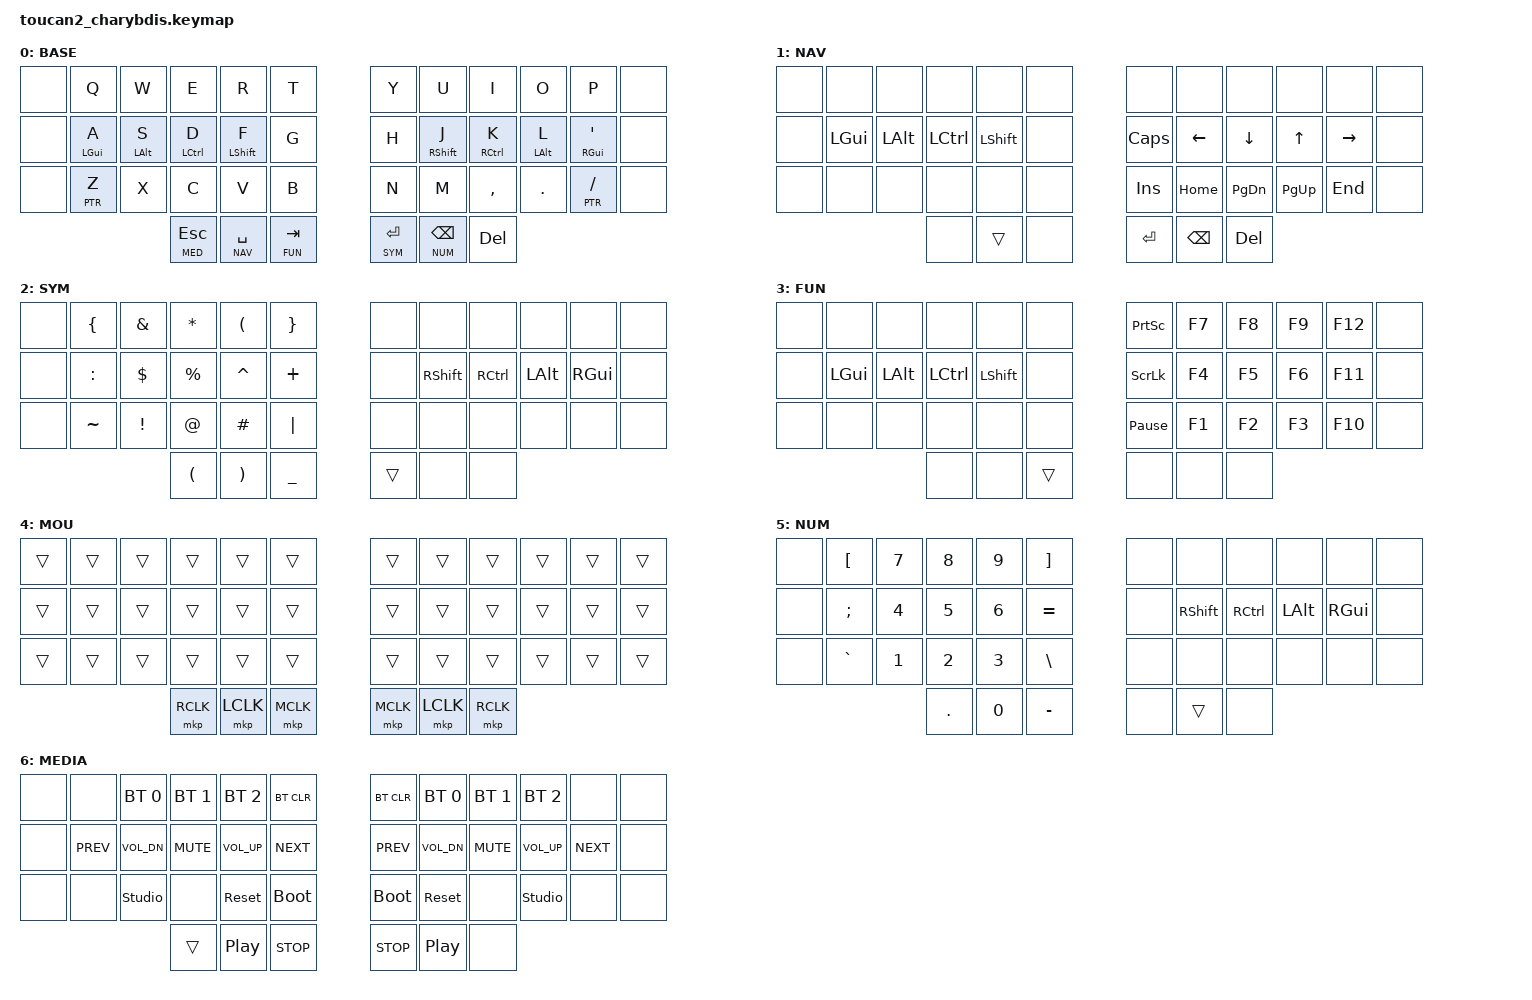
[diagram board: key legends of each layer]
/*
 * Toucan2 (36-key) keymap — port of the Charybdis Nano 3x5 stock layout
 * (bastardkb "via" keymap, Miryoku-inspired) to ZMK.
 *
 * Layer slots match the stock Toucan2 keymap (NAV=1, SYM=2, slot 4 = mouse layer
 * the trackpad switches on automatically), so the firmware's trackpad behavior
 * lines up with this file.
 *
 * Layout notes
 *  - The 6 outer-pinky positions of the 42-key matrix are &none (36-key build).
 *  - Thumbs (outer -> inner on the left, inner -> outer on the right):
 *      Left : Esc/MEDIA   Space/NAV   Tab/FUN
 *      Right: Enter/SYM   Bksp/NUM    Del   <- 6th thumb; the Charybdis Nano only has 5
 *  - Home-row mods, GACS order like the Charybdis:
 *      A=Cmd  S=Opt  D=Ctrl  F=Shift   |   J=Shift  K=Ctrl  L=Opt  '=Cmd
 *  - Pointer layer: comes on when the trackpad moves (like the Charybdis
 *    auto-pointer), or hold Z or /. Thumbs become mouse buttons; every other
 *    key passes through to the layer below.
 *  - Charybdis RGB keys -> Bluetooth profile keys (Toucan is wireless).
 *  - QK_BOOT -> &bootloader, EE_CLR -> &sys_reset (Media layer).
 *
 * Key positions (42-key transform):
 *    0  1  2  3  4  5 |  6  7  8  9 10 11
 *   12 13 14 15 16 17 | 18 19 20 21 22 23
 *   24 25 26 27 28 29 | 30 31 32 33 34 35
 *            36 37 38 | 39 40 41
 */

#include <behaviors.dtsi>
#include <dt-bindings/zmk/keys.h>
#include <dt-bindings/zmk/bt.h>
#include <dt-bindings/zmk/outputs.h>
#include <dt-bindings/zmk/pointing.h>

#define BASE 0
#define NAV  1
#define SYM  2
#define FUN  3
#define PTR  4
#define NUM  5
#define MED  6

#define KEYS_L 0 1 2 3 4 5 12 13 14 15 16 17 24 25 26 27 28 29
#define KEYS_R 6 7 8 9 10 11 18 19 20 21 22 23 30 31 32 33 34 35
#define THUMBS 36 37 38 39 40 41

/ {
    behaviors {
        // Positional home-row mods: a mod only triggers when the next key is on the
        // opposite hand (or a thumb), which avoids most misfires while rolling.
        hml: home_row_mod_left {
            compatible = "zmk,behavior-hold-tap";
            #binding-cells = <2>;
            flavor = "balanced";
            tapping-term-ms = <280>;
            quick-tap-ms = <175>;
            require-prior-idle-ms = <150>;
            bindings = <&kp>, <&kp>;
            hold-trigger-key-positions = <KEYS_R THUMBS>;
            hold-trigger-on-release;
        };

        hmr: home_row_mod_right {
            compatible = "zmk,behavior-hold-tap";
            #binding-cells = <2>;
            flavor = "balanced";
            tapping-term-ms = <280>;
            quick-tap-ms = <175>;
            require-prior-idle-ms = <150>;
            bindings = <&kp>, <&kp>;
            hold-trigger-key-positions = <KEYS_L THUMBS>;
            hold-trigger-on-release;
        };
    };

    keymap {
        compatible = "zmk,keymap";

        base {
            display-name = "BASE";
            bindings = <
&none  &kp Q          &kp W          &kp E           &kp R           &kp T     &kp Y  &kp U           &kp I           &kp O          &kp P            &none
&none  &hml LGUI A    &hml LALT S    &hml LCTRL D    &hml LSHFT F    &kp G     &kp H  &hmr RSHFT J    &hmr RCTRL K    &hmr LALT L    &hmr RGUI SQT    &none
&none  &lt PTR Z      &kp X          &kp C           &kp V           &kp B     &kp N  &kp M           &kp COMMA       &kp DOT        &lt PTR FSLH     &none
                      &lt MED ESC    &lt NAV SPACE   &lt FUN TAB               &lt SYM RET    &lt NUM BSPC    &kp DEL
            >;
        };

        nav {
            display-name = "NAV";
            bindings = <
&none  &none     &none     &none      &none      &none     &none    &none     &none     &none     &none      &none
&none  &kp LGUI  &kp LALT  &kp LCTRL  &kp LSHFT  &none     &kp CAPS &kp LEFT  &kp DOWN  &kp UP    &kp RIGHT  &none
&none  &none     &none     &none      &none      &none     &kp INS  &kp HOME  &kp PG_DN &kp PG_UP &kp END    &none
                           &none      &trans     &none     &kp RET  &kp BSPC  &kp DEL
            >;
        };

        sym {
            display-name = "SYM";
            bindings = <
&none  &kp LBRC   &kp AMPS  &kp STAR   &kp LPAR   &kp RBRC    &none  &none      &none      &none     &none     &none
&none  &kp COLON  &kp DLLR  &kp PRCNT  &kp CARET  &kp PLUS    &none  &kp RSHFT  &kp RCTRL  &kp LALT  &kp RGUI  &none
&none  &kp TILDE  &kp EXCL  &kp AT     &kp HASH   &kp PIPE    &none  &none      &none      &none     &none     &none
                            &kp LPAR   &kp RPAR   &kp UNDER   &trans &none      &none
            >;
        };

        fun {
            display-name = "FUN";
            bindings = <
&none  &none     &none     &none      &none      &none     &kp PSCRN        &kp F7  &kp F8  &kp F9  &kp F12  &none
&none  &kp LGUI  &kp LALT  &kp LCTRL  &kp LSHFT  &none     &kp SLCK         &kp F4  &kp F5  &kp F6  &kp F11  &none
&none  &none     &none     &none      &none      &none     &kp PAUSE_BREAK  &kp F1  &kp F2  &kp F3  &kp F10  &none
                           &none      &none      &trans    &none            &none   &none
            >;
        };

        mouse {
            display-name = "MOU";
            bindings = <
&trans &trans &trans    &trans    &trans    &trans      &trans    &trans    &trans    &trans &trans &trans
&trans &trans &trans    &trans    &trans    &trans      &trans    &trans    &trans    &trans &trans &trans
&trans &trans &trans    &trans    &trans    &trans      &trans    &trans    &trans    &trans &trans &trans
                        &mkp RCLK &mkp LCLK &mkp MCLK   &mkp MCLK &mkp LCLK &mkp RCLK
            >;
        };

        num {
            display-name = "NUM";
            bindings = <
&none  &kp LBKT   &kp N7  &kp N8   &kp N9     &kp RBKT    &none  &none      &none      &none     &none     &none
&none  &kp SEMI   &kp N4  &kp N5   &kp N6     &kp EQUAL   &none  &kp RSHFT  &kp RCTRL  &kp LALT  &kp RGUI  &none
&none  &kp GRAVE  &kp N1  &kp N2   &kp N3     &kp BSLH    &none  &none      &none      &none     &none     &none
                          &kp DOT  &kp N0     &kp MINUS   &none  &trans     &none
            >;
        };

        media {
            display-name = "MEDIA";
            bindings = <
&none  &none           &bt BT_SEL 0   &bt BT_SEL 1   &bt BT_SEL 2  &bt BT_CLR     &bt BT_CLR     &bt BT_SEL 0  &bt BT_SEL 1  &bt BT_SEL 2    &none           &none
&none  &kp C_PREV      &kp C_VOL_DN   &kp C_MUTE     &kp C_VOL_UP  &kp C_NEXT     &kp C_PREV     &kp C_VOL_DN  &kp C_MUTE    &kp C_VOL_UP    &kp C_NEXT      &none
&none  &none           &studio_unlock &none          &sys_reset    &bootloader    &bootloader    &sys_reset    &none         &studio_unlock  &none           &none
                                      &trans         &kp C_PP      &kp C_STOP     &kp C_STOP     &kp C_PP      &none
            >;
        };

        // Spare layers so ZMK Studio can add layers later without reflashing.
        extra_1 { status = "reserved"; };
        extra_2 { status = "reserved"; };
        extra_3 { status = "reserved"; };
    };
};
